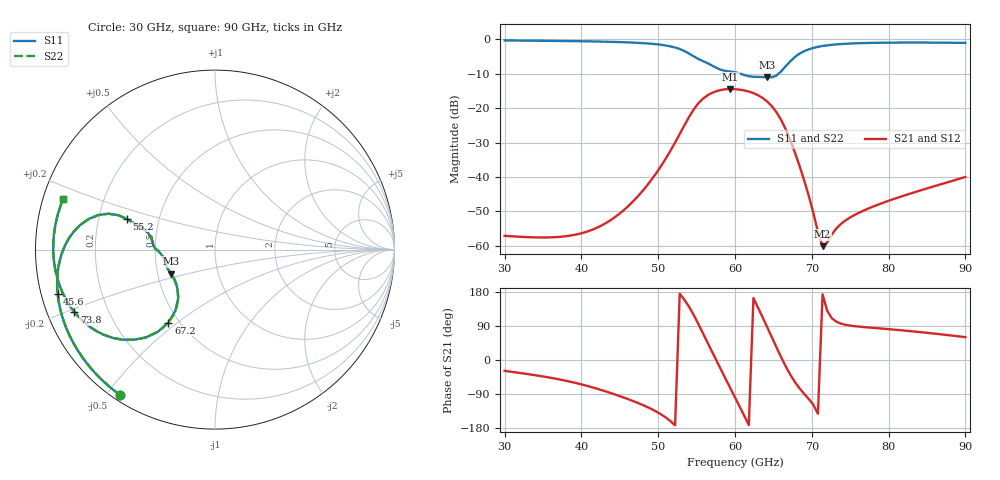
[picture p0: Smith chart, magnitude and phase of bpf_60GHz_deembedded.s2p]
! Created with skrf 2.2.0 (http://scikit-rf.org).
# GHz S DB R 50.0
! Port[1] = P1
! Port[2] = P2
!freq dBS11 angS11 dBS21 angS21 dBS12 angS12 dBS22 angS22
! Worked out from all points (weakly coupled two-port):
!   101 points, 30 GHz to 90 GHz, reference 50 ohm
!   highest |S21| = -14.43 dB at 59.4 GHz (marker M1); lowest = -60.2 dB at 71.4 GHz (marker M2)
!   lowest |S11| = -11.1 dB at 64.2 GHz (marker M3), VSWR 1.78, Z = 29.3 - j8.48 ohm
!   |S11| at or under -10 dB: 60.75 GHz to 65.65 GHz (4.907 GHz wide, 7.76 % of centre)
!   |S22| runs from -11.1 to -0.3 dB; largest |S21 - S12| = 1.8e-12
!   S11 on the Smith chart (normalised r, x): 30 GHz: 0.02, -0.54; 45.6 GHz: 0.05, -0.14; 55.2 GHz: 0.32, +0.15; 67.2 GHz: 0.44, -0.46; 73.8 GHz: 0.08, -0.21; 90 GHz: 0.06, +0.16
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30  -0.29 -123.1  -57.15 -28.6  -57.15 -28.6  -0.29 -123.0
36  -0.41 -138.8  -57.59 -46.9  -57.59 -46.9  -0.41 -138.8
40.2  -0.53 -149.5  -56.28 -65.4  -56.28 -65.4  -0.53 -149.5
45.6  -0.81 -164.3  -49.51 -99.7  -49.51 -99.7  -0.81 -164.3
50.4  -1.56 178.4  -36.73 -143.9  -36.73 -143.9  -1.56 178.4
53.4  -3.36 163.6  -25.04 159.4  -25.04 159.4  -3.36 163.6
55.2  -5.64 160.7  -18.65 96.2  -18.65 96.2  -5.64 160.8
56.4  -6.89 162.5  -16.29 47.0  -16.29 47.0  -6.87 162.5
57.6  -8.28 165.9  -15.03 -2.0  -15.03 -2.0  -8.26 165.9
59.4  -9.33 176.8  -14.43 -74.7  -14.43 -74.7  -9.31 176.6
60  -9.53 178.8  -14.48 -98.7  -14.48 -98.7  -9.52 178.6
61.8  -10.70 -171.4  -15.15 -171.6  -15.15 -171.6  -10.72 -171.6
63  -10.89 -161.5  -16.23 138.1  -16.23 138.1  -10.91 -161.7
64.2  -11.05 -151.6  -18.07 86.3  -18.07 86.3  -11.09 -151.7
66  -9.33 -126.9  -23.39 7.7  -23.39 7.7  -9.37 -126.8
67.2  -6.33 -122.6  -29.30 -38.7  -29.30 -38.7  -6.36 -122.4
69  -3.42 -131.9  -40.95 -89.1  -40.95 -89.1  -3.43 -131.7
70.2  -2.47 -139.2  -50.46 -118.2  -50.46 -118.2  -2.47 -139.1
71.4  -1.91 -145.7  -60.16 173.3  -60.16 173.3  -1.91 -145.6
73.8  -1.34 -156.1  -53.68 96.0  -53.68 96.0  -1.34 -156.0
80.4  -0.92 -175.9  -46.64 80.7  -46.64 80.7  -0.92 -175.9
90  -1.00 161.5  -40.02 60.2  -40.02 60.2  -1.00 161.6
